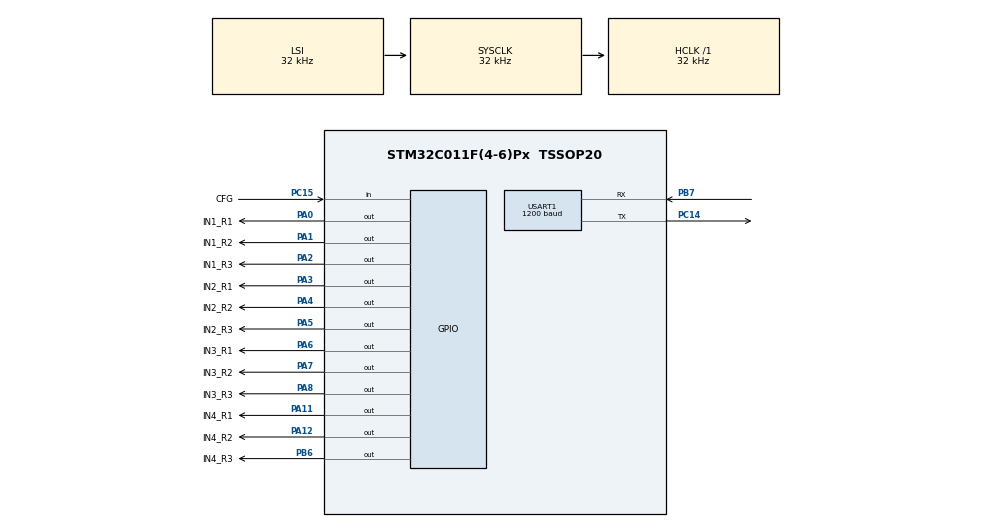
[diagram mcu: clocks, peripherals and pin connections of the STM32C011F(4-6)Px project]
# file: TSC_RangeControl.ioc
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Mcu.Family=STM32C0
Mcu.Name=STM32C011F(4-6)Px
Mcu.Package=TSSOP20
NVIC.USART1_IRQn=true\:0\:0\:false\:false\:true\:true\:true\:true
PA0.GPIO_Label=IN1_R1
PA0.Signal=GPIO_Output
PA1.GPIO_Label=IN1_R2
PA1.Signal=GPIO_Output
PA11\ [PA9].GPIO_Label=IN4_R1
PA11\ [PA9].Signal=GPIO_Output
PA12\ [PA10].GPIO_Label=IN4_R2
PA12\ [PA10].Signal=GPIO_Output
PA13.Mode=Serial_Wire
PA13.Signal=DEBUG_SWDIO
PA14-BOOT0.Mode=Serial_Wire
PA14-BOOT0.Signal=DEBUG_SWCLK
PA2.GPIO_Label=IN1_R3
PA2.Signal=GPIO_Output
PA3.GPIO_Label=IN2_R1
PA3.Signal=GPIO_Output
PA4.GPIO_Label=IN2_R2
PA4.Signal=GPIO_Output
PA5.GPIO_Label=IN2_R3
PA5.Signal=GPIO_Output
PA6.GPIO_Label=IN3_R1
PA6.Signal=GPIO_Output
PA7.GPIO_Label=IN3_R2
PA7.Signal=GPIO_Output
PA8.GPIO_Label=IN3_R3
PA8.Signal=GPIO_Output
PB6.GPIO_Label=IN4_R3
PB6.Signal=GPIO_Output
PB7.Mode=Asynchronous
PB7.Signal=USART1_RX
PC14-OSCX_IN\ (PC14).Mode=Asynchronous
PC14-OSCX_IN\ (PC14).Signal=USART1_TX
PC15-OSCX_OUT\ (PC15).GPIO_Label=CFG
PC15-OSCX_OUT\ (PC15).Signal=GPIO_Input
ProjectManager.HeapSize=0x200
ProjectManager.StackSize=0x400
ProjectManager.TargetToolchain=STM32CubeIDE
RCC.ADCFreq_Value=32000
RCC.AHBFreq_Value=32000
RCC.CortexFreq_Value=32000
RCC.EXTERNAL_CLOCK_VALUE=12288000
RCC.HCLKFreq_Value=32000
RCC.HSE_VALUE=8000000
RCC.HSISYSCLKDivider=RCC_HSI_DIV32
RCC.HSI_VALUE=48000000
RCC.I2C1CLockSelection=RCC_I2C1CLKSOURCE_SYSCLK
RCC.LSE_VALUE=32768
RCC.SYSCLKFreq_VALUE=32000
RCC.SYSCLKSource=RCC_SYSCLKSOURCE_LSI
RCC.USART1CLockSelection=RCC_USART1CLKSOURCE_SYSCLK
USART1.BaudRate=1200
USART1.Parity=PARITY_EVEN
USART1.VirtualMode-Asynchronous=VM_ASYNC
USART1.WordLength=WORDLENGTH_9B
board=custom

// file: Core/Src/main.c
/* USER CODE BEGIN Header */
/**
  ******************************************************************************
  * @file           : main.c
  * @brief          : Main program body
  ******************************************************************************
  * @attention
  *
  * Copyright (c) 2026 STMicroelectronics.
  * All rights reserved.
  *
  * This software is licensed under terms that can be found in the LICENSE file
  * in the root directory of this software component.
  * If no LICENSE file comes with this software, it is provided AS-IS.
  *
  ******************************************************************************
  */
/* USER CODE END Header */
#include "main.h"

/* USER CODE BEGIN Includes */
#include "gpio_ctrl.h"
#include "protocol.h"
/* USER CODE END Includes */

UART_HandleTypeDef huart1;

/* USER CODE BEGIN PV */
ChannelGPIO ch_map[4];

uint8_t rx_byte;
/* USER CODE END PV */

void SystemClock_Config(void);
static void MX_GPIO_Init(void);
static void MX_USART1_UART_Init(void);
/* USER CODE BEGIN PFP */
void HAL_UART_RxCpltCallback(UART_HandleTypeDef *huart)
{
    if (huart->Instance == USART1)
    {
        PROTOCOL_ProcessByte(rx_byte);
        HAL_UART_Receive_IT(&huart1, &rx_byte, 1);
    }
}
static uint8_t read_cfg_channels(void)
{
    // CFG = 0 -> 12 GPIO (4 kanały), CFG = 1 -> 9 GPIO (3 kanały)
    return (HAL_GPIO_ReadPin(CFG_GPIO_Port, CFG_Pin) == GPIO_PIN_SET) ? 3 : 4;
}
/* USER CODE END PFP */

int main(void)
{

  /* MCU Configuration--------------------------------------------------------*/

  /* Reset of all peripherals, Initializes the Flash interface and the Systick. */
  HAL_Init();

  /* Configure the system clock */
  SystemClock_Config();

  /* Initialize all configured peripherals */
  MX_GPIO_Init();
  MX_USART1_UART_Init();
  /* USER CODE BEGIN 2 */
	uint8_t channels = read_cfg_channels();

	GPIOCTRL_Init(channels);
	PROTOCOL_Init();

	// MAPA GPIO (przykład – CubeMX label INx_Ry)
	ch_map[0] = (ChannelGPIO ) { IN1_R1_GPIO_Port, IN1_R1_Pin,
			IN1_R2_GPIO_Port, IN1_R2_Pin,
			IN1_R3_GPIO_Port, IN1_R3_Pin };

	ch_map[1] = (ChannelGPIO ) { IN2_R1_GPIO_Port, IN2_R1_Pin,
			IN2_R2_GPIO_Port, IN2_R2_Pin,
			IN2_R3_GPIO_Port, IN2_R3_Pin };

	ch_map[2] = (ChannelGPIO ) { IN3_R1_GPIO_Port, IN3_R1_Pin,
			IN3_R2_GPIO_Port, IN3_R2_Pin,
			IN3_R3_GPIO_Port, IN3_R3_Pin };

	ch_map[3] = (ChannelGPIO ) { IN4_R1_GPIO_Port, IN4_R1_Pin,
			IN4_R2_GPIO_Port, IN4_R2_Pin,
			IN4_R3_GPIO_Port, IN4_R3_Pin };

	HAL_UART_Receive_IT(&huart1, &rx_byte, 1);

  /* USER CODE END 2 */

  /* Infinite loop */
  /* USER CODE BEGIN WHILE */
  while (1)
  {
	  __WFI(); // ultra low power
    /* USER CODE END WHILE */

  }
}

void SystemClock_Config(void)
{
  RCC_OscInitTypeDef RCC_OscInitStruct = {0};
  RCC_ClkInitTypeDef RCC_ClkInitStruct = {0};

  __HAL_FLASH_SET_LATENCY(FLASH_LATENCY_0);

  /** Initializes the RCC Oscillators according to the specified parameters
  * in the RCC_OscInitTypeDef structure.
  */
  RCC_OscInitStruct.OscillatorType = RCC_OSCILLATORTYPE_LSI;
  RCC_OscInitStruct.LSIState = RCC_LSI_ON;
  if (HAL_RCC_OscConfig(&RCC_OscInitStruct) != HAL_OK)
  {
    Error_Handler();
  }

  /** Initializes the CPU, AHB and APB buses clocks
  */
  RCC_ClkInitStruct.ClockType = RCC_CLOCKTYPE_HCLK|RCC_CLOCKTYPE_SYSCLK
                              |RCC_CLOCKTYPE_PCLK1;
  RCC_ClkInitStruct.SYSCLKSource = RCC_SYSCLKSOURCE_LSI;
  RCC_ClkInitStruct.SYSCLKDivider = RCC_SYSCLK_DIV1;
  RCC_ClkInitStruct.AHBCLKDivider = RCC_HCLK_DIV1;
  RCC_ClkInitStruct.APB1CLKDivider = RCC_APB1_DIV1;

  if (HAL_RCC_ClockConfig(&RCC_ClkInitStruct, FLASH_LATENCY_0) != HAL_OK)
  {
    Error_Handler();
  }
}

static void MX_USART1_UART_Init(void)
{

  huart1.Instance = USART1;
  huart1.Init.BaudRate = 1200;
  huart1.Init.WordLength = UART_WORDLENGTH_9B;
  huart1.Init.StopBits = UART_STOPBITS_1;
  huart1.Init.Parity = UART_PARITY_EVEN;
  huart1.Init.Mode = UART_MODE_TX_RX;
  huart1.Init.HwFlowCtl = UART_HWCONTROL_NONE;
  huart1.Init.OverSampling = UART_OVERSAMPLING_16;
  huart1.Init.OneBitSampling = UART_ONE_BIT_SAMPLE_DISABLE;
  huart1.Init.ClockPrescaler = UART_PRESCALER_DIV1;
  huart1.AdvancedInit.AdvFeatureInit = UART_ADVFEATURE_NO_INIT;
  if (HAL_UART_Init(&huart1) != HAL_OK)
  {
    Error_Handler();
  }
  if (HAL_UARTEx_SetTxFifoThreshold(&huart1, UART_TXFIFO_THRESHOLD_1_8) != HAL_OK)
  {
    Error_Handler();
  }
  if (HAL_UARTEx_SetRxFifoThreshold(&huart1, UART_RXFIFO_THRESHOLD_1_8) != HAL_OK)
  {
    Error_Handler();
  }
  if (HAL_UARTEx_DisableFifoMode(&huart1) != HAL_OK)
  {
    Error_Handler();
  }

}

static void MX_GPIO_Init(void)
{
  GPIO_InitTypeDef GPIO_InitStruct = {0};

  /* GPIO Ports Clock Enable */
  __HAL_RCC_GPIOB_CLK_ENABLE();
  __HAL_RCC_GPIOC_CLK_ENABLE();
  __HAL_RCC_GPIOA_CLK_ENABLE();

  /*Configure GPIO pin Output Level */
  HAL_GPIO_WritePin(GPIOA, IN1_R1_Pin|IN1_R2_Pin|IN1_R3_Pin|IN2_R1_Pin
                          |IN2_R2_Pin|IN2_R3_Pin|IN3_R1_Pin|IN3_R2_Pin
                          |IN3_R3_Pin|IN4_R1_Pin|IN4_R2_Pin, GPIO_PIN_RESET);

  /*Configure GPIO pin Output Level */
  HAL_GPIO_WritePin(IN4_R3_GPIO_Port, IN4_R3_Pin, GPIO_PIN_RESET);

  /*Configure GPIO pin : CFG_Pin */
  GPIO_InitStruct.Pin = CFG_Pin;
  GPIO_InitStruct.Mode = GPIO_MODE_INPUT;
  GPIO_InitStruct.Pull = GPIO_NOPULL;
  HAL_GPIO_Init(CFG_GPIO_Port, &GPIO_InitStruct);

  /*Configure GPIO pins : IN1_R1_Pin IN1_R2_Pin IN1_R3_Pin IN2_R1_Pin
                           IN2_R2_Pin IN2_R3_Pin IN3_R1_Pin IN3_R2_Pin
                           IN3_R3_Pin IN4_R1_Pin IN4_R2_Pin */
  GPIO_InitStruct.Pin = IN1_R1_Pin|IN1_R2_Pin|IN1_R3_Pin|IN2_R1_Pin
                          |IN2_R2_Pin|IN2_R3_Pin|IN3_R1_Pin|IN3_R2_Pin
                          |IN3_R3_Pin|IN4_R1_Pin|IN4_R2_Pin;
  GPIO_InitStruct.Mode = GPIO_MODE_OUTPUT_PP;
  GPIO_InitStruct.Pull = GPIO_NOPULL;
  GPIO_InitStruct.Speed = GPIO_SPEED_FREQ_LOW;
  HAL_GPIO_Init(GPIOA, &GPIO_InitStruct);

  /*Configure GPIO pin : IN4_R3_Pin */
  GPIO_InitStruct.Pin = IN4_R3_Pin;
  GPIO_InitStruct.Mode = GPIO_MODE_OUTPUT_PP;
  GPIO_InitStruct.Pull = GPIO_NOPULL;
  GPIO_InitStruct.Speed = GPIO_SPEED_FREQ_LOW;
  HAL_GPIO_Init(IN4_R3_GPIO_Port, &GPIO_InitStruct);

}

void Error_Handler(void)
{
  __disable_irq();
  while (1)
  {
  }
}
